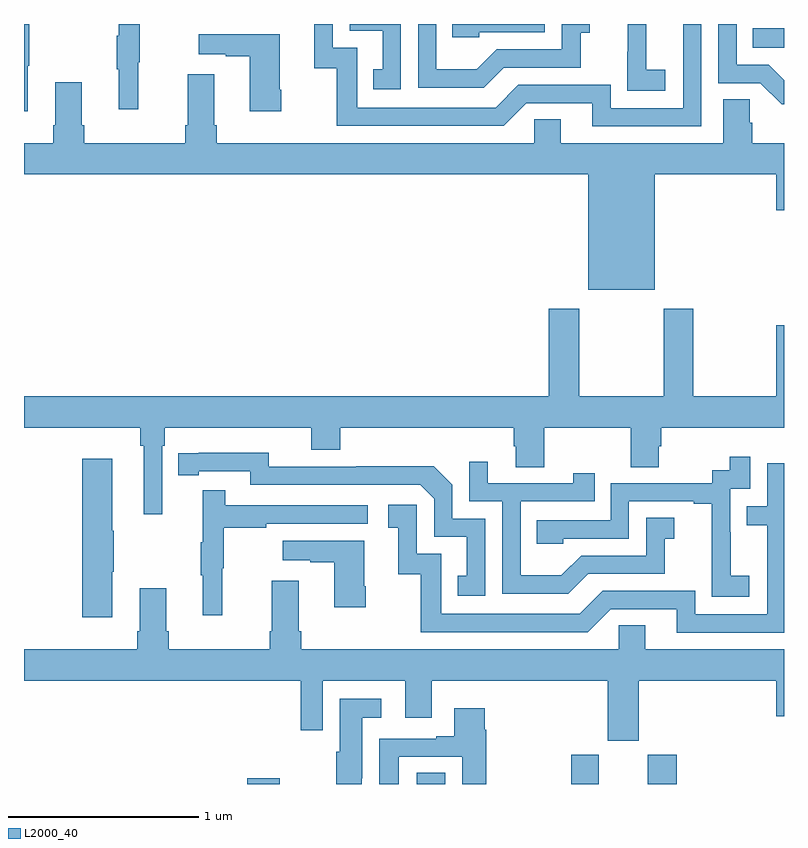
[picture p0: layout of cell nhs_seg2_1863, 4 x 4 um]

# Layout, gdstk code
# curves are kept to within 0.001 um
import gdstk
lib = gdstk.Library(unit=1e-6, precision=1e-09)
def R(c, l, rs):  # rectangles x0, y0, x1, y1
    for r in rs: c.add(gdstk.rectangle(r[:2], r[2:], *l))
def P(c, l, *ps):  # polygons
    for p in ps: c.add(gdstk.Polygon(p, *l))
L2000_40 = (2000, 40)

nhs_seg2_1863 = lib.new_cell('nhs_seg2_1863')
R(nhs_seg2_1863, L2000_40, [(210.176,605.8,210.346,605.83), (211.067,605.8,211.216,605.858), (211.879,605.8,212.026,605.955), (212.282,605.8,212.435,605.955), (212.836,609.674,213,609.778)])
P(nhs_seg2_1863, L2000_40, [(210.984,609.8),(210.714,609.8),(210.714,609.765),(210.887,609.765),(210.887,609.561),(210.838,609.561),(210.838,609.456),(210.984,609.456)],
  [(209.6,609.6),(209.608,609.6),(209.608,609.8),(209.498,609.8),(209.498,609.737),(209.487,609.737),(209.487,609.563),(209.498,609.563),(209.498,609.351),(209.6,609.351)],
  [(211.525,609.57),(211.929,609.57),(211.929,609.755),(211.978,609.755),(211.978,609.8),(211.83,609.8),(211.83,609.666),(211.488,609.666),(211.384,609.562),(211.17,609.562),(211.17,609.8),(211.074,609.8),(211.074,609.465),(211.42,609.465)],
  [(212.374,609.559),(212.276,609.559),(212.276,609.788),(212.274,609.788),(212.274,609.8),(212.177,609.8),(212.177,609.655),(212.176,609.655),(212.176,609.449),(212.374,609.449)],
  [(211.395,609.756),(211.74,609.756),(211.74,609.8),(211.255,609.8),(211.255,609.729),(211.395,609.729)],
  [(209.02,609.58),(209.028,609.58),(209.028,609.8),(209,609.8),(209,609.342),(209.02,609.342)],
  [(212.565,609.8),(212.469,609.8),(212.469,609.357),(212.088,609.357),(212.088,609.48),(211.602,609.48),(211.482,609.36),(210.753,609.36),(210.753,609.675),(210.624,609.675),(210.624,609.8),(210.527,609.8),(210.527,609.567),(210.645,609.567),(210.645,609.264),(211.524,609.264),(211.644,609.384),(211.991,609.384),(211.991,609.261),(212.565,609.261)],
  [(213,609.505),(212.92,609.585),(212.751,609.585),(212.751,609.8),(212.655,609.8),(212.655,609.489),(212.874,609.489),(212.987,609.377),(213,609.377)],
  [(210.354,609.454),(210.346,609.454),(210.346,609.745),(209.919,609.745),(209.919,609.641),(210.062,609.641),(210.062,609.631),(210.188,609.631),(210.188,609.342),(210.354,609.342)],
  [(212.32,609.008),(212.96,609.008),(212.96,608.82),(213,608.82),(213,609.172),(212.834,609.172),(212.834,609.281),(212.82,609.281),(212.82,609.404),(212.681,609.404),(212.681,609.172),(211.825,609.172),(211.825,609.299),(211.686,609.299),(211.686,609.172),(210.014,609.172),(210.014,609.268),(210.001,609.268),(210.001,609.535),(209.861,609.535),(209.861,609.268),(209.849,609.268),(209.849,609.172),(209.318,609.172),(209.318,609.268),(209.305,609.268),(209.305,609.493),(209.165,609.493),(209.165,609.268),(209.153,609.268),(209.153,609.172),(209,609.172),(209,609.008),(211.97,609.008),(211.97,608.402),(212.32,608.402)],
  [(209.727,607.58),(209.741,607.58),(209.741,607.676),(210.512,607.676),(210.512,607.559),(210.665,607.559),(210.665,607.676),(211.577,607.676),(211.577,607.578),(211.589,607.578),(211.589,607.468),(211.737,607.468),(211.737,607.676),(212.194,607.676),(212.194,607.468),(212.341,607.468),(212.341,607.578),(212.354,607.578),(212.354,607.676),(213,607.676),(213,608.215),(212.96,608.215),(212.96,607.84),(212.523,607.84),(212.523,608.302),(212.368,608.302),(212.368,607.84),(211.923,607.84),(211.923,608.302),(211.763,608.302),(211.763,607.84),(209,607.84),(209,607.676),(209.611,607.676),(209.611,607.58),(209.63,607.58),(209.63,607.221),(209.727,607.221)],
  [(211.428,607.197),(211.254,607.197),(211.254,607.374),(211.156,607.472),(210.748,607.472),(210.748,607.47),(210.288,607.47),(210.288,607.543),(209.812,607.542),(209.812,607.426),(209.92,607.426),(209.92,607.446),(210.192,607.446),(210.192,607.374),(211.086,607.374),(211.158,607.302),(211.158,607.101),(211.331,607.101),(211.331,606.897),(211.282,606.897),(211.282,606.792),(211.428,606.792)],
  [(212.818,606.895),(212.72,606.895),(212.72,607.124),(212.718,607.124),(212.718,607.353),(212.823,607.353),(212.823,607.522),(212.715,607.522),(212.715,607.452),(212.622,607.452),(212.622,607.383),(212.088,607.383),(212.088,607.188),(211.699,607.188),(211.699,607.065),(211.839,607.065),(211.839,607.092),(212.184,607.092),(212.184,607.287),(212.525,607.287),(212.525,607.275),(212.621,607.275),(212.621,606.991),(212.62,606.991),(212.62,606.785),(212.818,606.785)],
  [(209.464,606.916),(209.472,606.916),(209.472,607.133),(209.464,607.133),(209.464,607.513),(209.306,607.513),(209.306,606.678),(209.464,606.678)],
  [(211.969,606.906),(212.373,606.906),(212.373,607.091),(212.422,607.091),(212.422,607.201),(212.274,607.201),(212.274,607.002),(211.932,607.002),(211.828,606.898),(211.614,606.898),(211.614,607.287),(212.003,607.287),(212.003,607.435),(211.892,607.435),(211.892,607.383),(211.441,607.383),(211.441,607.495),(211.344,607.495),(211.344,607.287),(211.518,607.287),(211.518,606.801),(211.864,606.801)],
  [(213,607.488),(212.913,607.488),(212.913,607.263),(212.803,607.263),(212.803,607.162),(212.913,607.162),(212.913,606.693),(212.532,606.693),(212.532,606.816),(212.046,606.816),(211.926,606.696),(211.197,606.696),(211.197,607.011),(211.068,607.011),(211.068,607.27),(210.918,607.27),(210.918,607.149),(210.971,607.149),(210.971,606.903),(211.089,606.903),(211.089,606.6),(211.968,606.6),(212.088,606.72),(212.435,606.72),(212.435,606.597),(213,606.597)],
  [(210.044,606.936),(210.052,606.936),(210.052,607.15),(210.275,607.15),(210.275,607.17),(210.808,607.17),(210.808,607.266),(210.059,607.266),(210.059,607.345),(209.942,607.345),(209.942,607.073),(209.931,607.073),(209.931,606.899),(209.942,606.899),(209.942,606.687),(210.044,606.687)],
  [(210.798,606.841),(210.79,606.841),(210.79,607.081),(210.363,607.081),(210.363,606.977),(210.506,606.977),(210.506,606.967),(210.632,606.967),(210.632,606.729),(210.798,606.729)],
  [(212.236,606.344),(212.96,606.344),(212.96,606.156),(213,606.156),(213,606.508),(212.269,606.508),(212.269,606.635),(212.13,606.635),(212.13,606.508),(210.458,606.508),(210.458,606.604),(210.445,606.604),(210.445,606.871),(210.305,606.871),(210.305,606.604),(210.293,606.604),(210.293,606.508),(209.762,606.508),(209.762,606.604),(209.749,606.604),(209.749,606.829),(209.609,606.829),(209.609,606.604),(209.597,606.604),(209.597,606.508),(209,606.508),(209,606.344),(210.457,606.344),(210.457,606.084),(210.573,606.084),(210.573,606.344),(211.007,606.344),(211.007,606.15),(211.147,606.15),(211.147,606.344),(212.072,606.344),(212.072,606.027),(212.236,606.027)],
  [(210.777,605.83),(210.781,605.83),(210.781,606.149),(210.88,606.149),(210.88,606.25),(210.662,606.25),(210.662,605.97),(210.644,605.97),(210.644,605.8),(210.777,605.8)],
  [(210.973,605.943),(211.307,605.943),(211.307,605.8),(211.434,605.8),(211.434,606.086),(211.426,606.086),(211.426,606.199),(211.265,606.199),(211.265,606.052),(211.169,606.052),(211.169,606.039),(210.869,606.039),(210.869,605.8),(210.973,605.8)])

lib.write_gds('nhs_seg2_1863.gds')
